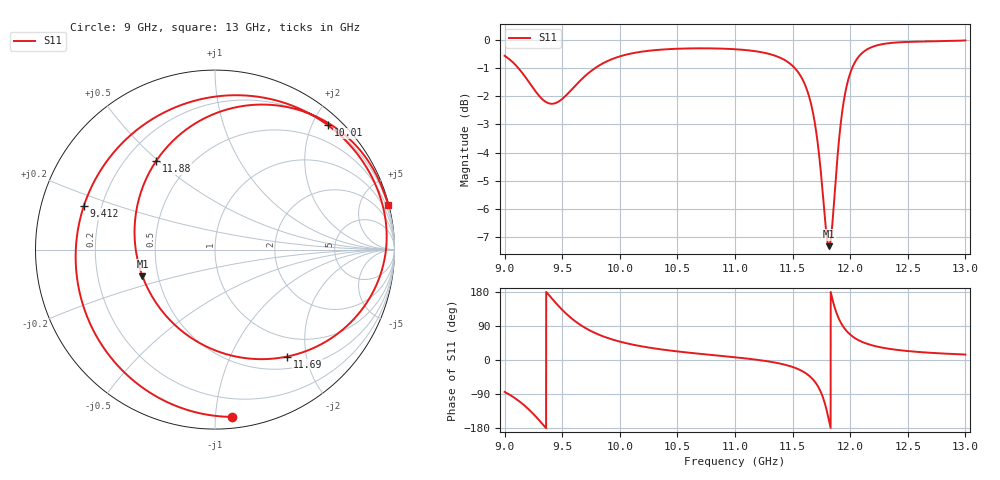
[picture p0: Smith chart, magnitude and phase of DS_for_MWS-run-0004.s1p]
! TOUCHSTONE file generated by CST DESIGN STUDIO
! Date and time: Tue Feb  4 13:53:34 2025
! Project name: C:\Work\MatlabApps\UnitCellOptimizationMatlab\CST\unitcell.cst
! Tree item: Tasks\Sweep1\SPara1\S-Parameters
! Header version: 2024
! Port assignment regex: !\s*Touchstone port\s*([0-9]+)\s*=\s*(CST MWS port|CST DES external port|CST DES block port)\s*(.+)\s* \(\"(.*)\"\)(\s*mode\s*([0-9]+))?.*
! Touchstone port assignment:
! Touchstone port 1 = CST DES external port 1 ("")
# GHz S MA R 50
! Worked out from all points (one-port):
!   4001 points, 9 GHz to 13 GHz, reference 50 ohm
!   lowest |S11| = -7.3 dB at 11.82 GHz (marker M1), VSWR 2.51, Z = 20.4 - j7.46 ohm
!   |S11| at or under -10 dB: nowhere
!   S11 on the Smith chart (normalised r, x): 9 GHz: 0.07, -1.11; 9.412 GHz: 0.13, +0.16; 10.01 GHz: 0.20, +2.24; 11.69 GHz: 0.68, -1.67; 11.88 GHz: 0.32, +0.49; 13 GHz: 0.08, +7.90
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9  0.9369 -84.1
9.103  0.8988 -103.5
9.193  0.852 -125.7
9.309  0.7917 -162.0
9.412  0.7703 161.6
9.5  0.7856 132.5
9.588  0.8186 108.1
9.686  0.858 87.2
9.834  0.904 64.9
10  0.9347 48.5
10.009  0.9359 47.8
10.22  0.9547 34.4
10.5  0.9644 22.6
11  0.9625 7.2
11.297  0.9441 -4.1
11.5  0.8991 -18.4
11.609  0.8312 -33.9
11.69  0.7182 -56.1
11.758  0.5454 -94.2
11.816  0.4305 -159.8
11.848  0.4793 157.7
11.882  0.5931 123.5
11.934  0.7544 90.7
12  0.8726 67.1
12.076  0.9349 51.7
12.174  0.9683 40.1
12.5  0.9917 23.6
13  0.9976 14.4
